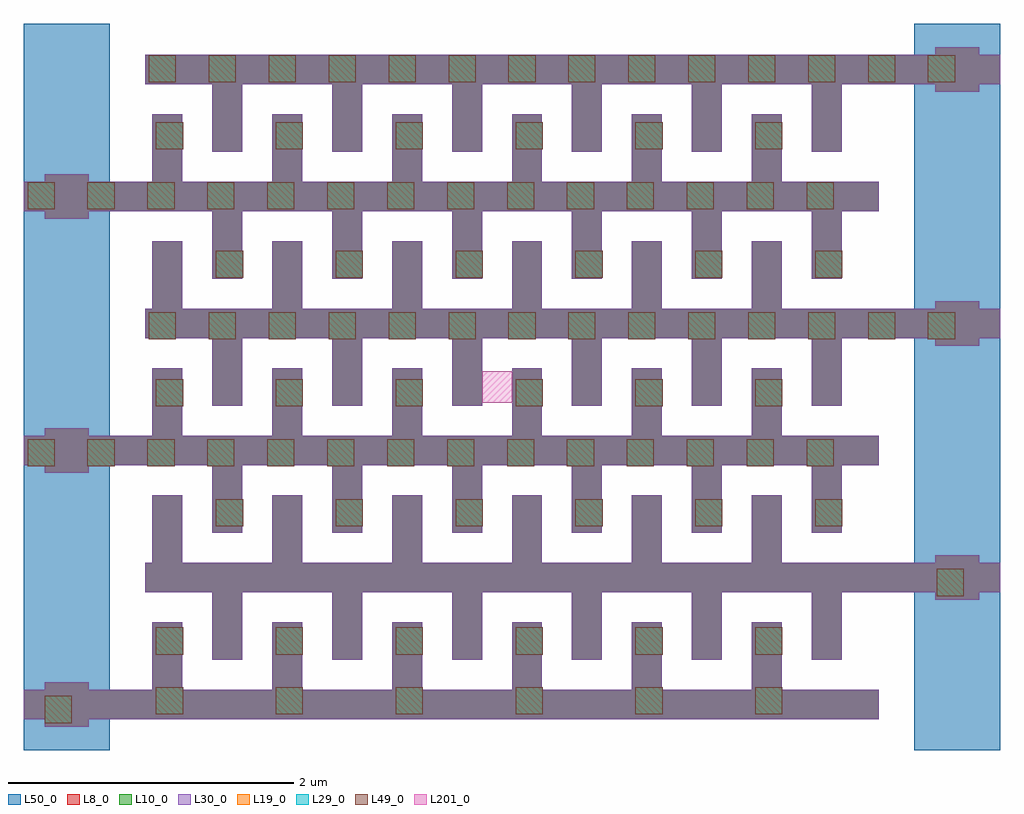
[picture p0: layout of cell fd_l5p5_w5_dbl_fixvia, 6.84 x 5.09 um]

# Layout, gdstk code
import gdstk
lib = gdstk.Library(unit=1e-6, precision=1e-09)
def R(c, l, rs):  # rectangles x0, y0, x1, y1
    for r in rs: c.add(gdstk.rectangle(r[:2], r[2:], *l))
def A(c, l, x, y, w, h, nx, ny, dx, dy):  # array of equal rectangles
    R(c, l, [(x+i*dx, y+j*dy, x+i*dx+w, y+j*dy+h) for i in range(nx) for j in range(ny)])
def P(c, l, *ps):  # polygons
    for p in ps: c.add(gdstk.Polygon(p, *l))
L8_0 = (8, 0)
L10_0 = (10, 0)
L19_0 = (19, 0)
L29_0 = (29, 0)
L30_0 = (30, 0)
L49_0 = (49, 0)
L50_0 = (50, 0)
L201_0 = (201, 0)

fd_l5p5_w5_dbl_fixvia = lib.new_cell('fd_l5p5_w5_dbl_fixvia')
P(fd_l5p5_w5_dbl_fixvia, L8_0, [(-0.755,-0.155),(-0.755,-0.105),(-0.9,-0.105),(-0.9,0.105),(-0.755,0.105),(-0.755,0.155),(-0.445,0.155),(-0.445,0.105),(0,0.105),(0,0.575),(0.21,0.575),(0.21,0.105),(0.84,0.105),(0.84,0.575),(1.05,0.575),(1.05,0.105),(1.68,0.105),(1.68,0.575),(1.89,0.575),(1.89,0.105),(2.52,0.105),(2.52,0.575),(2.73,0.575),(2.73,0.105),(3.36,0.105),(3.36,0.575),(3.57,0.575),(3.57,0.105),(4.2,0.105),(4.2,0.575),(4.41,0.575),(4.41,0.105),(5.09,0.105),(5.09,-0.105),(-0.445,-0.105),(-0.445,-0.155)],
  [(0.42,1.205),(0.42,1.675),(-0.445,1.675),(-0.445,1.625),(-0.755,1.625),(-0.755,1.675),(-0.9,1.675),(-0.9,1.885),(-0.755,1.885),(-0.755,1.935),(-0.445,1.935),(-0.445,1.885),(0,1.885),(0,2.355),(0.21,2.355),(0.21,1.885),(0.84,1.885),(0.84,2.355),(1.05,2.355),(1.05,1.885),(1.68,1.885),(1.68,2.355),(1.89,2.355),(1.89,1.885),(2.52,1.885),(2.52,2.355),(2.73,2.355),(2.73,1.885),(3.36,1.885),(3.36,2.355),(3.57,2.355),(3.57,1.885),(4.2,1.885),(4.2,2.355),(4.41,2.355),(4.41,1.885),(5.09,1.885),(5.09,1.675),(4.83,1.675),(4.83,1.205),(4.62,1.205),(4.62,1.675),(3.99,1.675),(3.99,1.205),(3.78,1.205),(3.78,1.675),(3.15,1.675),(3.15,1.205),(2.94,1.205),(2.94,1.675),(2.31,1.675),(2.31,1.205),(2.1,1.205),(2.1,1.675),(1.47,1.675),(1.47,1.205),(1.26,1.205),(1.26,1.675),(0.63,1.675),(0.63,1.205)],
  [(0.42,2.985),(0.42,3.455),(-0.445,3.455),(-0.445,3.405),(-0.755,3.405),(-0.755,3.455),(-0.9,3.455),(-0.9,3.665),(-0.755,3.665),(-0.755,3.715),(-0.445,3.715),(-0.445,3.665),(0,3.665),(0,4.135),(0.21,4.135),(0.21,3.665),(0.84,3.665),(0.84,4.135),(1.05,4.135),(1.05,3.665),(1.68,3.665),(1.68,4.135),(1.89,4.135),(1.89,3.665),(2.52,3.665),(2.52,4.135),(2.73,4.135),(2.73,3.665),(3.36,3.665),(3.36,4.135),(3.57,4.135),(3.57,3.665),(4.2,3.665),(4.2,4.135),(4.41,4.135),(4.41,3.665),(5.09,3.665),(5.09,3.455),(4.83,3.455),(4.83,2.985),(4.62,2.985),(4.62,3.455),(3.99,3.455),(3.99,2.985),(3.78,2.985),(3.78,3.455),(3.15,3.455),(3.15,2.985),(2.94,2.985),(2.94,3.455),(2.31,3.455),(2.31,2.985),(2.1,2.985),(2.1,3.455),(1.47,3.455),(1.47,2.985),(1.26,2.985),(1.26,3.455),(0.63,3.455),(0.63,2.985)],
  [(0.42,0.315),(0.42,0.785),(-0.05,0.785),(-0.05,0.995),(0,0.995),(0,1.465),(0.21,1.465),(0.21,0.995),(0.84,0.995),(0.84,1.465),(1.05,1.465),(1.05,0.995),(1.68,0.995),(1.68,1.465),(1.89,1.465),(1.89,0.995),(2.52,0.995),(2.52,1.465),(2.73,1.465),(2.73,0.995),(3.36,0.995),(3.36,1.465),(3.57,1.465),(3.57,0.995),(4.2,0.995),(4.2,1.465),(4.41,1.465),(4.41,0.995),(5.485,0.995),(5.485,1.045),(5.795,1.045),(5.795,0.995),(5.94,0.995),(5.94,0.785),(5.795,0.785),(5.795,0.735),(5.485,0.735),(5.485,0.785),(4.83,0.785),(4.83,0.315),(4.62,0.315),(4.62,0.785),(3.99,0.785),(3.99,0.315),(3.78,0.315),(3.78,0.785),(3.15,0.785),(3.15,0.315),(2.94,0.315),(2.94,0.785),(2.31,0.785),(2.31,0.315),(2.1,0.315),(2.1,0.785),(1.47,0.785),(1.47,0.315),(1.26,0.315),(1.26,0.785),(0.63,0.785),(0.63,0.315)],
  [(0.42,2.095),(0.42,2.565),(-0.05,2.565),(-0.05,2.775),(0,2.775),(0,3.245),(0.21,3.245),(0.21,2.775),(0.84,2.775),(0.84,3.245),(1.05,3.245),(1.05,2.775),(1.68,2.775),(1.68,3.245),(1.89,3.245),(1.89,2.775),(2.52,2.775),(2.52,3.245),(2.73,3.245),(2.73,2.775),(3.36,2.775),(3.36,3.245),(3.57,3.245),(3.57,2.775),(4.2,2.775),(4.2,3.245),(4.41,3.245),(4.41,2.775),(5.485,2.775),(5.485,2.825),(5.795,2.825),(5.795,2.775),(5.94,2.775),(5.94,2.565),(5.795,2.565),(5.795,2.515),(5.485,2.515),(5.485,2.565),(4.83,2.565),(4.83,2.095),(4.62,2.095),(4.62,2.565),(3.99,2.565),(3.99,2.095),(3.78,2.095),(3.78,2.565),(3.15,2.565),(3.15,2.095),(2.94,2.095),(2.94,2.565),(2.31,2.565),(2.31,2.095),(2.1,2.095),(2.1,2.565),(1.47,2.565),(1.47,2.095),(1.26,2.095),(1.26,2.565),(0.63,2.565),(0.63,2.095)],
  [(0.42,3.875),(0.42,4.345),(-0.05,4.345),(-0.05,4.555),(5.485,4.555),(5.485,4.605),(5.795,4.605),(5.795,4.555),(5.94,4.555),(5.94,4.345),(5.795,4.345),(5.795,4.295),(5.485,4.295),(5.485,4.345),(4.83,4.345),(4.83,3.875),(4.62,3.875),(4.62,4.345),(3.99,4.345),(3.99,3.875),(3.78,3.875),(3.78,4.345),(3.15,4.345),(3.15,3.875),(2.94,3.875),(2.94,4.345),(2.31,4.345),(2.31,3.875),(2.1,3.875),(2.1,4.345),(1.47,4.345),(1.47,3.875),(1.26,3.875),(1.26,4.345),(0.63,4.345),(0.63,3.875)])
P(fd_l5p5_w5_dbl_fixvia, L10_0, [(-0.755,-0.155),(-0.755,-0.105),(-0.9,-0.105),(-0.9,0.105),(-0.755,0.105),(-0.755,0.155),(-0.445,0.155),(-0.445,0.105),(0,0.105),(0,0.575),(0.21,0.575),(0.21,0.105),(0.84,0.105),(0.84,0.575),(1.05,0.575),(1.05,0.105),(1.68,0.105),(1.68,0.575),(1.89,0.575),(1.89,0.105),(2.52,0.105),(2.52,0.575),(2.73,0.575),(2.73,0.105),(3.36,0.105),(3.36,0.575),(3.57,0.575),(3.57,0.105),(4.2,0.105),(4.2,0.575),(4.41,0.575),(4.41,0.105),(5.09,0.105),(5.09,-0.105),(-0.445,-0.105),(-0.445,-0.155)],
  [(0.42,1.205),(0.42,1.675),(-0.445,1.675),(-0.445,1.625),(-0.755,1.625),(-0.755,1.675),(-0.9,1.675),(-0.9,1.885),(-0.755,1.885),(-0.755,1.935),(-0.445,1.935),(-0.445,1.885),(0,1.885),(0,2.355),(0.21,2.355),(0.21,1.885),(0.84,1.885),(0.84,2.355),(1.05,2.355),(1.05,1.885),(1.68,1.885),(1.68,2.355),(1.89,2.355),(1.89,1.885),(2.52,1.885),(2.52,2.355),(2.73,2.355),(2.73,1.885),(3.36,1.885),(3.36,2.355),(3.57,2.355),(3.57,1.885),(4.2,1.885),(4.2,2.355),(4.41,2.355),(4.41,1.885),(5.09,1.885),(5.09,1.675),(4.83,1.675),(4.83,1.205),(4.62,1.205),(4.62,1.675),(3.99,1.675),(3.99,1.205),(3.78,1.205),(3.78,1.675),(3.15,1.675),(3.15,1.205),(2.94,1.205),(2.94,1.675),(2.31,1.675),(2.31,1.205),(2.1,1.205),(2.1,1.675),(1.47,1.675),(1.47,1.205),(1.26,1.205),(1.26,1.675),(0.63,1.675),(0.63,1.205)],
  [(0.42,2.985),(0.42,3.455),(-0.445,3.455),(-0.445,3.405),(-0.755,3.405),(-0.755,3.455),(-0.9,3.455),(-0.9,3.665),(-0.755,3.665),(-0.755,3.715),(-0.445,3.715),(-0.445,3.665),(0,3.665),(0,4.135),(0.21,4.135),(0.21,3.665),(0.84,3.665),(0.84,4.135),(1.05,4.135),(1.05,3.665),(1.68,3.665),(1.68,4.135),(1.89,4.135),(1.89,3.665),(2.52,3.665),(2.52,4.135),(2.73,4.135),(2.73,3.665),(3.36,3.665),(3.36,4.135),(3.57,4.135),(3.57,3.665),(4.2,3.665),(4.2,4.135),(4.41,4.135),(4.41,3.665),(5.09,3.665),(5.09,3.455),(4.83,3.455),(4.83,2.985),(4.62,2.985),(4.62,3.455),(3.99,3.455),(3.99,2.985),(3.78,2.985),(3.78,3.455),(3.15,3.455),(3.15,2.985),(2.94,2.985),(2.94,3.455),(2.31,3.455),(2.31,2.985),(2.1,2.985),(2.1,3.455),(1.47,3.455),(1.47,2.985),(1.26,2.985),(1.26,3.455),(0.63,3.455),(0.63,2.985)],
  [(0.42,0.315),(0.42,0.785),(-0.05,0.785),(-0.05,0.995),(0,0.995),(0,1.465),(0.21,1.465),(0.21,0.995),(0.84,0.995),(0.84,1.465),(1.05,1.465),(1.05,0.995),(1.68,0.995),(1.68,1.465),(1.89,1.465),(1.89,0.995),(2.52,0.995),(2.52,1.465),(2.73,1.465),(2.73,0.995),(3.36,0.995),(3.36,1.465),(3.57,1.465),(3.57,0.995),(4.2,0.995),(4.2,1.465),(4.41,1.465),(4.41,0.995),(5.485,0.995),(5.485,1.045),(5.795,1.045),(5.795,0.995),(5.94,0.995),(5.94,0.785),(5.795,0.785),(5.795,0.735),(5.485,0.735),(5.485,0.785),(4.83,0.785),(4.83,0.315),(4.62,0.315),(4.62,0.785),(3.99,0.785),(3.99,0.315),(3.78,0.315),(3.78,0.785),(3.15,0.785),(3.15,0.315),(2.94,0.315),(2.94,0.785),(2.31,0.785),(2.31,0.315),(2.1,0.315),(2.1,0.785),(1.47,0.785),(1.47,0.315),(1.26,0.315),(1.26,0.785),(0.63,0.785),(0.63,0.315)],
  [(0.42,2.095),(0.42,2.565),(-0.05,2.565),(-0.05,2.775),(0,2.775),(0,3.245),(0.21,3.245),(0.21,2.775),(0.84,2.775),(0.84,3.245),(1.05,3.245),(1.05,2.775),(1.68,2.775),(1.68,3.245),(1.89,3.245),(1.89,2.775),(2.52,2.775),(2.52,3.245),(2.73,3.245),(2.73,2.775),(3.36,2.775),(3.36,3.245),(3.57,3.245),(3.57,2.775),(4.2,2.775),(4.2,3.245),(4.41,3.245),(4.41,2.775),(5.485,2.775),(5.485,2.825),(5.795,2.825),(5.795,2.775),(5.94,2.775),(5.94,2.565),(5.795,2.565),(5.795,2.515),(5.485,2.515),(5.485,2.565),(4.83,2.565),(4.83,2.095),(4.62,2.095),(4.62,2.565),(3.99,2.565),(3.99,2.095),(3.78,2.095),(3.78,2.565),(3.15,2.565),(3.15,2.095),(2.94,2.095),(2.94,2.565),(2.31,2.565),(2.31,2.095),(2.1,2.095),(2.1,2.565),(1.47,2.565),(1.47,2.095),(1.26,2.095),(1.26,2.565),(0.63,2.565),(0.63,2.095)],
  [(0.42,3.875),(0.42,4.345),(-0.05,4.345),(-0.05,4.555),(5.485,4.555),(5.485,4.605),(5.795,4.605),(5.795,4.555),(5.94,4.555),(5.94,4.345),(5.795,4.345),(5.795,4.295),(5.485,4.295),(5.485,4.345),(4.83,4.345),(4.83,3.875),(4.62,3.875),(4.62,4.345),(3.99,4.345),(3.99,3.875),(3.78,3.875),(3.78,4.345),(3.15,4.345),(3.15,3.875),(2.94,3.875),(2.94,4.345),(2.31,4.345),(2.31,3.875),(2.1,3.875),(2.1,4.345),(1.47,4.345),(1.47,3.875),(1.26,3.875),(1.26,4.345),(0.63,4.345),(0.63,3.875)])
A(fd_l5p5_w5_dbl_fixvia, L19_0, 0.025, -0.07, 0.19, 0.19, 6, 2, 0.84, 0.42)
A(fd_l5p5_w5_dbl_fixvia, L19_0, 0.445, 1.25, 0.19, 0.19, 6, 2, 0.84, 1.74)
A(fd_l5p5_w5_dbl_fixvia, L19_0, -0.875, 1.67, 0.19, 0.19, 14, 2, 0.42, 1.8)
A(fd_l5p5_w5_dbl_fixvia, L19_0, 0.025, 2.09, 0.19, 0.19, 6, 2, 0.84, 1.8)
A(fd_l5p5_w5_dbl_fixvia, L19_0, -0.025, 2.56, 0.19, 0.19, 14, 2, 0.42, 1.8)
R(fd_l5p5_w5_dbl_fixvia, L19_0, [(-0.755,-0.13,-0.565,0.06), (5.495,0.76,5.685,0.95)])
A(fd_l5p5_w5_dbl_fixvia, L29_0, 0.025, -0.07, 0.19, 0.19, 6, 2, 0.84, 0.42)
A(fd_l5p5_w5_dbl_fixvia, L29_0, 0.445, 1.25, 0.19, 0.19, 6, 2, 0.84, 1.74)
A(fd_l5p5_w5_dbl_fixvia, L29_0, -0.875, 1.67, 0.19, 0.19, 14, 2, 0.42, 1.8)
A(fd_l5p5_w5_dbl_fixvia, L29_0, 0.025, 2.09, 0.19, 0.19, 6, 2, 0.84, 1.8)
A(fd_l5p5_w5_dbl_fixvia, L29_0, -0.025, 2.56, 0.19, 0.19, 14, 2, 0.42, 1.8)
R(fd_l5p5_w5_dbl_fixvia, L29_0, [(-0.755,-0.13,-0.565,0.06), (5.495,0.76,5.685,0.95)])
P(fd_l5p5_w5_dbl_fixvia, L30_0, [(-0.755,-0.155),(-0.755,-0.105),(-0.9,-0.105),(-0.9,0.105),(-0.755,0.105),(-0.755,0.155),(-0.445,0.155),(-0.445,0.105),(0,0.105),(0,0.575),(0.21,0.575),(0.21,0.105),(0.84,0.105),(0.84,0.575),(1.05,0.575),(1.05,0.105),(1.68,0.105),(1.68,0.575),(1.89,0.575),(1.89,0.105),(2.52,0.105),(2.52,0.575),(2.73,0.575),(2.73,0.105),(3.36,0.105),(3.36,0.575),(3.57,0.575),(3.57,0.105),(4.2,0.105),(4.2,0.575),(4.41,0.575),(4.41,0.105),(5.09,0.105),(5.09,-0.105),(-0.445,-0.105),(-0.445,-0.155)],
  [(0.42,1.205),(0.42,1.675),(-0.445,1.675),(-0.445,1.625),(-0.755,1.625),(-0.755,1.675),(-0.9,1.675),(-0.9,1.885),(-0.755,1.885),(-0.755,1.935),(-0.445,1.935),(-0.445,1.885),(0,1.885),(0,2.355),(0.21,2.355),(0.21,1.885),(0.84,1.885),(0.84,2.355),(1.05,2.355),(1.05,1.885),(1.68,1.885),(1.68,2.355),(1.89,2.355),(1.89,1.885),(2.52,1.885),(2.52,2.355),(2.73,2.355),(2.73,1.885),(3.36,1.885),(3.36,2.355),(3.57,2.355),(3.57,1.885),(4.2,1.885),(4.2,2.355),(4.41,2.355),(4.41,1.885),(5.09,1.885),(5.09,1.675),(4.83,1.675),(4.83,1.205),(4.62,1.205),(4.62,1.675),(3.99,1.675),(3.99,1.205),(3.78,1.205),(3.78,1.675),(3.15,1.675),(3.15,1.205),(2.94,1.205),(2.94,1.675),(2.31,1.675),(2.31,1.205),(2.1,1.205),(2.1,1.675),(1.47,1.675),(1.47,1.205),(1.26,1.205),(1.26,1.675),(0.63,1.675),(0.63,1.205)],
  [(0.42,2.985),(0.42,3.455),(-0.445,3.455),(-0.445,3.405),(-0.755,3.405),(-0.755,3.455),(-0.9,3.455),(-0.9,3.665),(-0.755,3.665),(-0.755,3.715),(-0.445,3.715),(-0.445,3.665),(0,3.665),(0,4.135),(0.21,4.135),(0.21,3.665),(0.84,3.665),(0.84,4.135),(1.05,4.135),(1.05,3.665),(1.68,3.665),(1.68,4.135),(1.89,4.135),(1.89,3.665),(2.52,3.665),(2.52,4.135),(2.73,4.135),(2.73,3.665),(3.36,3.665),(3.36,4.135),(3.57,4.135),(3.57,3.665),(4.2,3.665),(4.2,4.135),(4.41,4.135),(4.41,3.665),(5.09,3.665),(5.09,3.455),(4.83,3.455),(4.83,2.985),(4.62,2.985),(4.62,3.455),(3.99,3.455),(3.99,2.985),(3.78,2.985),(3.78,3.455),(3.15,3.455),(3.15,2.985),(2.94,2.985),(2.94,3.455),(2.31,3.455),(2.31,2.985),(2.1,2.985),(2.1,3.455),(1.47,3.455),(1.47,2.985),(1.26,2.985),(1.26,3.455),(0.63,3.455),(0.63,2.985)],
  [(0.42,0.315),(0.42,0.785),(-0.05,0.785),(-0.05,0.995),(0,0.995),(0,1.465),(0.21,1.465),(0.21,0.995),(0.84,0.995),(0.84,1.465),(1.05,1.465),(1.05,0.995),(1.68,0.995),(1.68,1.465),(1.89,1.465),(1.89,0.995),(2.52,0.995),(2.52,1.465),(2.73,1.465),(2.73,0.995),(3.36,0.995),(3.36,1.465),(3.57,1.465),(3.57,0.995),(4.2,0.995),(4.2,1.465),(4.41,1.465),(4.41,0.995),(5.485,0.995),(5.485,1.045),(5.795,1.045),(5.795,0.995),(5.94,0.995),(5.94,0.785),(5.795,0.785),(5.795,0.735),(5.485,0.735),(5.485,0.785),(4.83,0.785),(4.83,0.315),(4.62,0.315),(4.62,0.785),(3.99,0.785),(3.99,0.315),(3.78,0.315),(3.78,0.785),(3.15,0.785),(3.15,0.315),(2.94,0.315),(2.94,0.785),(2.31,0.785),(2.31,0.315),(2.1,0.315),(2.1,0.785),(1.47,0.785),(1.47,0.315),(1.26,0.315),(1.26,0.785),(0.63,0.785),(0.63,0.315)],
  [(0.42,2.095),(0.42,2.565),(-0.05,2.565),(-0.05,2.775),(0,2.775),(0,3.245),(0.21,3.245),(0.21,2.775),(0.84,2.775),(0.84,3.245),(1.05,3.245),(1.05,2.775),(1.68,2.775),(1.68,3.245),(1.89,3.245),(1.89,2.775),(2.52,2.775),(2.52,3.245),(2.73,3.245),(2.73,2.775),(3.36,2.775),(3.36,3.245),(3.57,3.245),(3.57,2.775),(4.2,2.775),(4.2,3.245),(4.41,3.245),(4.41,2.775),(5.485,2.775),(5.485,2.825),(5.795,2.825),(5.795,2.775),(5.94,2.775),(5.94,2.565),(5.795,2.565),(5.795,2.515),(5.485,2.515),(5.485,2.565),(4.83,2.565),(4.83,2.095),(4.62,2.095),(4.62,2.565),(3.99,2.565),(3.99,2.095),(3.78,2.095),(3.78,2.565),(3.15,2.565),(3.15,2.095),(2.94,2.095),(2.94,2.565),(2.31,2.565),(2.31,2.095),(2.1,2.095),(2.1,2.565),(1.47,2.565),(1.47,2.095),(1.26,2.095),(1.26,2.565),(0.63,2.565),(0.63,2.095)],
  [(0.42,3.875),(0.42,4.345),(-0.05,4.345),(-0.05,4.555),(5.485,4.555),(5.485,4.605),(5.795,4.605),(5.795,4.555),(5.94,4.555),(5.94,4.345),(5.795,4.345),(5.795,4.295),(5.485,4.295),(5.485,4.345),(4.83,4.345),(4.83,3.875),(4.62,3.875),(4.62,4.345),(3.99,4.345),(3.99,3.875),(3.78,3.875),(3.78,4.345),(3.15,4.345),(3.15,3.875),(2.94,3.875),(2.94,4.345),(2.31,4.345),(2.31,3.875),(2.1,3.875),(2.1,4.345),(1.47,4.345),(1.47,3.875),(1.26,3.875),(1.26,4.345),(0.63,4.345),(0.63,3.875)])
A(fd_l5p5_w5_dbl_fixvia, L49_0, 0.025, -0.07, 0.19, 0.19, 6, 2, 0.84, 0.42)
A(fd_l5p5_w5_dbl_fixvia, L49_0, 0.445, 1.25, 0.19, 0.19, 6, 2, 0.84, 1.74)
A(fd_l5p5_w5_dbl_fixvia, L49_0, -0.875, 1.67, 0.19, 0.19, 14, 2, 0.42, 1.8)
A(fd_l5p5_w5_dbl_fixvia, L49_0, 0.025, 2.09, 0.19, 0.19, 6, 2, 0.84, 1.8)
A(fd_l5p5_w5_dbl_fixvia, L49_0, -0.025, 2.56, 0.19, 0.19, 14, 2, 0.42, 1.8)
R(fd_l5p5_w5_dbl_fixvia, L49_0, [(-0.755,-0.13,-0.565,0.06), (5.495,0.76,5.685,0.95)])
P(fd_l5p5_w5_dbl_fixvia, L50_0, [(-0.9,-0.32),(-0.9,4.77),(-0.3,4.77),(-0.3,3.665),(0,3.665),(0,4.135),(0.21,4.135),(0.21,3.665),(0.84,3.665),(0.84,4.135),(1.05,4.135),(1.05,3.665),(1.68,3.665),(1.68,4.135),(1.89,4.135),(1.89,3.665),(2.52,3.665),(2.52,4.135),(2.73,4.135),(2.73,3.665),(3.36,3.665),(3.36,4.135),(3.57,4.135),(3.57,3.665),(4.2,3.665),(4.2,4.135),(4.41,4.135),(4.41,3.665),(5.09,3.665),(5.09,3.455),(4.83,3.455),(4.83,2.985),(4.62,2.985),(4.62,3.455),(3.99,3.455),(3.99,2.985),(3.78,2.985),(3.78,3.455),(3.15,3.455),(3.15,2.985),(2.94,2.985),(2.94,3.455),(2.31,3.455),(2.31,2.985),(2.1,2.985),(2.1,3.455),(1.47,3.455),(1.47,2.985),(1.26,2.985),(1.26,3.455),(0.63,3.455),(0.63,2.985),(0.42,2.985),(0.42,3.455),(-0.3,3.455),(-0.3,1.885),(0,1.885),(0,2.355),(0.21,2.355),(0.21,1.885),(0.84,1.885),(0.84,2.355),(1.05,2.355),(1.05,1.885),(1.68,1.885),(1.68,2.355),(1.89,2.355),(1.89,1.885),(2.52,1.885),(2.52,2.355),(2.73,2.355),(2.73,1.885),(3.36,1.885),(3.36,2.355),(3.57,2.355),(3.57,1.885),(4.2,1.885),(4.2,2.355),(4.41,2.355),(4.41,1.885),(5.09,1.885),(5.09,1.675),(4.83,1.675),(4.83,1.205),(4.62,1.205),(4.62,1.675),(3.99,1.675),(3.99,1.205),(3.78,1.205),(3.78,1.675),(3.15,1.675),(3.15,1.205),(2.94,1.205),(2.94,1.675),(2.31,1.675),(2.31,1.205),(2.1,1.205),(2.1,1.675),(1.47,1.675),(1.47,1.205),(1.26,1.205),(1.26,1.675),(0.63,1.675),(0.63,1.205),(0.42,1.205),(0.42,1.675),(-0.3,1.675),(-0.3,0.105),(0,0.105),(0,0.575),(0.21,0.575),(0.21,0.105),(0.84,0.105),(0.84,0.575),(1.05,0.575),(1.05,0.105),(1.68,0.105),(1.68,0.575),(1.89,0.575),(1.89,0.105),(2.52,0.105),(2.52,0.575),(2.73,0.575),(2.73,0.105),(3.36,0.105),(3.36,0.575),(3.57,0.575),(3.57,0.105),(4.2,0.105),(4.2,0.575),(4.41,0.575),(4.41,0.105),(5.09,0.105),(5.09,-0.105),(-0.3,-0.105),(-0.3,-0.32)],
  [(5.34,-0.32),(5.34,0.785),(4.83,0.785),(4.83,0.315),(4.62,0.315),(4.62,0.785),(3.99,0.785),(3.99,0.315),(3.78,0.315),(3.78,0.785),(3.15,0.785),(3.15,0.315),(2.94,0.315),(2.94,0.785),(2.31,0.785),(2.31,0.315),(2.1,0.315),(2.1,0.785),(1.47,0.785),(1.47,0.315),(1.26,0.315),(1.26,0.785),(0.63,0.785),(0.63,0.315),(0.42,0.315),(0.42,0.785),(-0.05,0.785),(-0.05,0.995),(0,0.995),(0,1.465),(0.21,1.465),(0.21,0.995),(0.84,0.995),(0.84,1.465),(1.05,1.465),(1.05,0.995),(1.68,0.995),(1.68,1.465),(1.89,1.465),(1.89,0.995),(2.52,0.995),(2.52,1.465),(2.73,1.465),(2.73,0.995),(3.36,0.995),(3.36,1.465),(3.57,1.465),(3.57,0.995),(4.2,0.995),(4.2,1.465),(4.41,1.465),(4.41,0.995),(5.34,0.995),(5.34,2.565),(4.83,2.565),(4.83,2.095),(4.62,2.095),(4.62,2.565),(3.99,2.565),(3.99,2.095),(3.78,2.095),(3.78,2.565),(3.15,2.565),(3.15,2.095),(2.94,2.095),(2.94,2.565),(2.31,2.565),(2.31,2.095),(2.1,2.095),(2.1,2.565),(1.47,2.565),(1.47,2.095),(1.26,2.095),(1.26,2.565),(0.63,2.565),(0.63,2.095),(0.42,2.095),(0.42,2.565),(-0.05,2.565),(-0.05,2.775),(0,2.775),(0,3.245),(0.21,3.245),(0.21,2.775),(0.84,2.775),(0.84,3.245),(1.05,3.245),(1.05,2.775),(1.68,2.775),(1.68,3.245),(1.89,3.245),(1.89,2.775),(2.52,2.775),(2.52,3.245),(2.73,3.245),(2.73,2.775),(3.36,2.775),(3.36,3.245),(3.57,3.245),(3.57,2.775),(4.2,2.775),(4.2,3.245),(4.41,3.245),(4.41,2.775),(5.34,2.775),(5.34,4.345),(4.83,4.345),(4.83,3.875),(4.62,3.875),(4.62,4.345),(3.99,4.345),(3.99,3.875),(3.78,3.875),(3.78,4.345),(3.15,4.345),(3.15,3.875),(2.94,3.875),(2.94,4.345),(2.31,4.345),(2.31,3.875),(2.1,3.875),(2.1,4.345),(1.47,4.345),(1.47,3.875),(1.26,3.875),(1.26,4.345),(0.63,4.345),(0.63,3.875),(0.42,3.875),(0.42,4.345),(-0.05,4.345),(-0.05,4.555),(5.34,4.555),(5.34,4.77),(5.94,4.77),(5.94,-0.32)])
R(fd_l5p5_w5_dbl_fixvia, L201_0, [(2.31,2.115,2.52,2.335)])

lib.write_gds('fd_l5p5_w5_dbl_fixvia.gds')
